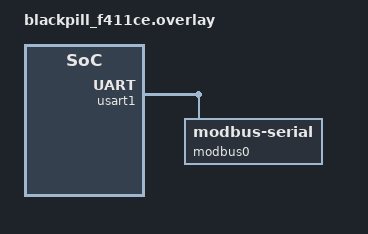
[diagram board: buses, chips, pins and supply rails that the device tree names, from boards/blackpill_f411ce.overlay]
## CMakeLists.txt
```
cmake_minimum_required(VERSION 3.20.0)
find_package(Zephyr REQUIRED HINTS $ENV{ZEPHYR_BASE})
project(f411_modbus)

target_sources(app PRIVATE src/main.c)
```

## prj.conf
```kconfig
# SPDX-License-Identifier: Apache-2.0
#
# f411_modbus 的 Kconfig：只用「Zephyr 已有的东西」，不引第三方库。
#
# 与 f411_breath 的差别只有两处：
#   ① 打开 Modbus 子系统（server 角色）；
#   ② 关掉 LOG，只留 printk —— 因为 USART1 在 modbus_init_server 之后归协议栈，
#      任何异步日志都会把 Modbus 帧撞碎（见教程 11 §5）。

# 控制台 = USART1（PA9/PA10 → DAP-Link CDC）。开机自检要用它，
# 协议起来之后就不再打印（单口方案，和 classic 的 STM32F411_modbus 一致）。
CONFIG_CONSOLE=y
CONFIG_SERIAL=y
CONFIG_UART_CONSOLE=y

# Modbus 走 UART 中断：RTU 的 3.5 字符静默定界靠 IRQ + 超时，不走轮询
CONFIG_UART_INTERRUPT_DRIVEN=y
CONFIG_UART_LINE_CTRL=n
CONFIG_MODBUS=y
CONFIG_MODBUS_ROLE_SERVER=y

# ★ 关日志：LOG 在中断里也能输出，会和 Modbus 帧抢同一个 UART
CONFIG_LOG=n
CONFIG_PRINTK=y

CONFIG_GPIO=y
CONFIG_MAIN_STACK_SIZE=2048

# 调试会话：不开这一项时，主循环 WFI 期间 AHB-AP 读不到内核寄存器，
# openocd 会刷 "Polling failed / Failed to read memory at 0xe000ed04"，
# gdb 报 pc=0（看起来像崩了，其实固件在正常跑）。详见教程 10 §5.1。
CONFIG_DEBUG=y
```

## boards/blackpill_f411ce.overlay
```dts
/*
 * f411_modbus 的板级 overlay：把 USART1 变成 Modbus RTU 的物理层。
 *
 * 为什么挂在 &usart1 下面而不是写 chosen：
 *   Zephyr 的 Modbus 串口实例是「uart 节点的子节点」（compatible = zephyr,modbus-serial），
 *   驱动用 DT_INST_PARENT(inst) 反查 uart 设备。写成 chosen 找不到。
 *
 * 不加 de-gpios / re-gpios：
 *   那两个是 RS485 收发器的方向脚（DE/RE）。DAP-Link 的 CDC 串口是 TTL 直连，
 *   没有方向控制；写了反而会去操作一个不存在的引脚。
 *
 * 引脚不在这里写：PA9/PA10 由板级 dts 的 usart1 pinctrl 决定。
 */

&usart1 {
	status = "okay";

	modbus0: modbus0 {
		compatible = "zephyr,modbus-serial";
		status = "okay";
	};
};
```

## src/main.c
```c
/*
 * SPDX-License-Identifier: Apache-2.0
 *
 * f411_modbus —— STM32F411CEU6（WeAct Black Pill V2.0）上的 Modbus RTU 从站
 *
 * 它替代的是 classic 的 examples/STM32F411_modbus，但**只替代功能，不替代引擎**：
 *   classic：自己写 CRC16、自己写循环 DMA 收 + 软件乒乓发、自己写静默定界；
 *   这里    ：把 USART1 交给 Zephyr 的 Modbus 子系统（subsys/modbus），
 *             内核只负责「寄存器表里每个地址是什么意思」。
 *
 * 换句话说：这一版里没有一行 CRC、没有一个状态机。想改协议行为去改 dts 与 Kconfig，
 * 想改业务语义才改这个文件 —— 这是迁移到 Zephyr 最直接的好处。
 *
 * 寄存器表与 classic 点表（projects/STM32F411_modbus.modbus.json）严格对齐：
 *   0x0000 device_id = 0x0411 (STM32F411)     0x0001 fw_version = 0x0100
 *   0x0002 tick（每秒 +1）                     0x0003 toggles（每秒 +2）
 *   0x0004 stage = 1                           0x0010 LED 命令（写 0/1）
 *   0x0011 burst（接受写入，Zephyr 侧不产生连发）
 *   0x0020/21 runtime u32（高字在前）          0x0030/31 temp f32（高字在前）
 *   0x0040/41 uptime u32                       0x0110..0x0117 scratch（可读写）
 *   线圈 0..3（线圈 0 与 LED 联动）            离散输入 0 = LED 状态 / 1 = 最近 2s 有事务
 *
 * 0x0100..0x0109 在 classic 里是「循环 DMA 的仪表盘」（HT/TC/IDLE/TX 乒乓）。
 * Zephyr 用的是子系统自己的收发路径，没有这些计数，所以这段**恒返回 0**。
 * 不编造数字，是这个工程的一条硬规矩。
 */

#include <errno.h>

#include <zephyr/kernel.h>
#include <zephyr/drivers/gpio.h>
#include <zephyr/modbus/modbus.h>
#include <zephyr/sys/printk.h>
#include <zephyr/version.h>

/* ── 从站参数 ──────────────────────────────────────────────────── */
#define UNIT_ID   1u
#define HOLD_N    0x0120u          /* 保持寄存器地址空间 0x0000–0x011F（与 classic 同） */
#define COIL_N    4u

#define REG_LED       0x0010u
#define REG_BURST     0x0011u
#define REG_SCRATCH0  0x0110u
#define SCRATCH_N     8u

/* classic 的 DMA 仪表盘段：Zephyr 无对应物，恒 0 */
#define REG_DMA_FIRST 0x0100u
#define REG_DMA_LAST  0x0109u

static const struct gpio_dt_spec led = GPIO_DT_SPEC_GET(DT_ALIAS(led0), gpios);

static uint16_t holding[HOLD_N];
static uint16_t scratch[SCRATCH_N];
static uint8_t  coil_bits;

/* 写过 0x0010 或线圈 0 之后，LED 交给主站；否则自己按 500 ms 翻转当年心跳灯 */
static bool     led_manual;
static int64_t  last_rx_ms;

/* 模拟温度：不引 libm，只验证 f32 的字序与缩放 */
static const float temp_tab[8] = {
	25.0f, 25.5f, 26.0f, 26.5f, 27.0f, 26.5f, 26.0f, 25.5f
};

static uint32_t uptime_s(void)
{
	return (uint32_t)(k_uptime_get() / 1000);
}

/* 任何一次被服务端调用的回调 = 总线上刚有一帧。离散输入 1 用它判「主站还在不在」 */
static void mark_rx(void)
{
	last_rx_ms = k_uptime_get();
}

static uint32_t temp_u32(void)
{
	union {
		float f;
		uint32_t u;
	} cv;

	cv.f = temp_tab[uptime_s() % 8u];
	return cv.u;
}

/* ── 服务端回调：只回答“这个地址是什么意思” ──────────────────── */

static int coil_rd(uint16_t addr, bool *state)
{
	if (addr >= COIL_N) {
		return -ENOTSUP;
	}
	mark_rx();
	*state = (coil_bits >> addr) & 1u;
	return 0;
}

static int coil_wr(uint16_t addr, bool state)
{
	if (addr >= COIL_N) {
		return -ENOTSUP;
	}
	mark_rx();

	if (state) {
		coil_bits |= (uint8_t)BIT(addr);
	} else {
		coil_bits &= (uint8_t)~BIT(addr);
	}

	/* 线圈 0 与 LED 联动：classic 也是这个约定，点表里写的是「线圈 0 与 LED 联动」 */
	if (addr == 0u) {
		led_manual = true;
		gpio_pin_set_dt(&led, state ? 1 : 0);
	}
	return 0;
}

static int discrete_rd(uint16_t addr, bool *state)
{
	mark_rx();

	switch (addr) {
	case 0u:
		*state = gpio_pin_get_dt(&led) > 0;
		return 0;
	case 1u:
		*state = (k_uptime_get() - last_rx_ms) < 2000;
		return 0;
	default:
		return -ENOTSUP;
	}
}

static int input_reg_rd(uint16_t addr, uint16_t *reg)
{
	ARG_UNUSED(addr);
	ARG_UNUSED(reg);
	return -ENOTSUP;            /* 这片点表没有输入寄存器，如实拒绝 */
}

static int holding_reg_rd(uint16_t addr, uint16_t *reg)
{
	uint32_t t;
	uint32_t temp;

	mark_rx();

	t = uptime_s();
	temp = temp_u32();

	switch (addr) {
	case 0x0000:                                    /* device_id */
		*reg = 0x0411u;                         /* 0x04 = STM32F4, 0x11 = F411 */
		return 0;
	case 0x0001:                                    /* fw_version 1.0 */
		*reg = 0x0100u;
		return 0;
	case 0x0002:                                    /* tick：每秒 +1 */
		*reg = (uint16_t)t;
		return 0;
	case 0x0003:                                    /* toggles：每秒 +2 */
		*reg = (uint16_t)(t * 2u);
		return 0;
	case 0x0004:                                    /* stage：1 = 从站在跑 */
		*reg = 1u;
		return 0;
	case 0x0005:
		/* frames：classic 数的是「合法帧」；Zephyr 子系统不向应用暴露帧计数。
		 * 与其给个会误导人的近似值，不如返回 0 —— 判活看 tick 或离散输入 1。 */
		*reg = 0u;
		return 0;
	case 0x0020:                                    /* runtime u32 高字（100 ms 计） */
		*reg = (uint16_t)((t * 10u) >> 16);
		return 0;
	case 0x0021:                                    /* runtime u32 低字 */
		*reg = (uint16_t)((t * 10u) & 0xFFFFu);
		return 0;
	case 0x0030:                                    /* temp f32 高字 */
		*reg = (uint16_t)(temp >> 16);
		return 0;
	case 0x0031:                                    /* temp f32 低字 */
		*reg = (uint16_t)(temp & 0xFFFFu);
		return 0;
	case 0x0040:                                    /* uptime u32 高字 */
		*reg = (uint16_t)(t >> 16);
		return 0;
	case 0x0041:                                    /* uptime u32 低字 */
		*reg = (uint16_t)(t & 0xFFFFu);
		return 0;
	default:
		break;
	}

	if (addr >= REG_DMA_FIRST && addr <= REG_DMA_LAST) {
		*reg = 0u;
		return 0;
	}
	if (addr >= REG_SCRATCH0 && addr < REG_SCRATCH0 + SCRATCH_N) {
		*reg = scratch[addr - REG_SCRATCH0];
		return 0;
	}
	if (addr < HOLD_N) {
		*reg = holding[addr];
		return 0;
	}
	return -ENOTSUP;
}

static int holding_reg_wr(uint16_t addr, uint16_t reg)
{
	mark_rx();

	/* 写点白名单：不在表里的一律拒绝（服务端回 02 非法地址）。
	 * 读错可以重读，写错会动硬件 —— 显式列表永远优于按地址段猜。 */
	if (addr == REG_LED) {
		led_manual = true;
		holding[addr] = reg;
		gpio_pin_set_dt(&led, reg ? 1 : 0);
		return 0;
	}
	if (addr == REG_BURST) {
		/* classic 用它触发「连发 N 帧」来观察 TX 乒乓。
		 * Zephyr 的发送路径归子系统，应用侧没有两块发送缓冲可切，
		 * 所以这里只记值、不产生连发（教程 11 §6 会解释这个差别）。 */
		holding[addr] = reg;
		return 0;
	}
	if (addr >= REG_SCRATCH0 && addr < REG_SCRATCH0 + SCRATCH_N) {
		scratch[addr - REG_SCRATCH0] = reg;
		return 0;
	}
	return -ENOTSUP;
}

static struct modbus_user_callbacks mbs_cb = {
	.coil_rd = coil_rd,
	.coil_wr = coil_wr,
	.discrete_input_rd = discrete_rd,
	.input_reg_rd = input_reg_rd,
	.holding_reg_rd = holding_reg_rd,
	.holding_reg_wr = holding_reg_wr,
};

/* ── 启动 ──────────────────────────────────────────────────────── */

int main(void)
{
	struct modbus_iface_param param = {
		.mode = MODBUS_MODE_RTU,
		.server = {
			.unit_id = UNIT_ID,
			.user_cb = &mbs_cb,
		},
		.serial = {
			.baud = 115200,
			.parity = UART_CFG_PARITY_NONE,
		},
	};
	int iface;

	/* ★ 单口方案：所有打印都在 modbus_init_server 之前完成。
	 *   协议一起来，USART1 就归 Modbus 了，此后任何 printk 都会插进帧里。
	 *   classic 的同一块板也是这个做法（首帧前打 [alive]，之后只跑协议）。
	 *
	 * ★ 为什么分三段打印、中间刻意等 1.4 s：
	 *   上位机/工具打开串口需要时间（本轮实测：烧录结束到串口可用约 0.6–1.2 s）。
	 *   如果 4 行横幅在 10 ms 内全打完，抓日志的人只能看到后半截，甚至啥也看不到。
	 *   留一段「启动静默期」既方便现场排障，也不影响 Modbus —— 主站上电后一般也要
	 *   秒级才开始轮询。代价是从站上线晚 1.4 s，嫌慢就改下面两个 k_msleep。 */
	printk("\n[boot] f411_modbus unit=%u 115200 8N1 (Zephyr %s)\n",
	       UNIT_ID, KERNEL_VERSION_STRING);
	printk("[boot] board=%s\n", CONFIG_BOARD_TARGET);

	if (!gpio_is_ready_dt(&led)) {
		printk("[boot] LED not ready, abort\n");
		return -1;
	}
	gpio_pin_configure_dt(&led, GPIO_OUTPUT_INACTIVE);

	k_msleep(700);
	printk("[boot] regs 0x0000 id | 0x0002 tick | 0x0010 led | 0x0110..117 scratch\n");
	k_msleep(700);
	printk("[boot] coils 0..3 (coil0=led) | di0=led di1=bus-active\n");

	/* 最后再留一点时间把上面两行排空：残留字节会被主站当成帧头 */
	k_msleep(150);

	iface = modbus_iface_get_by_name("modbus0");
	if (iface < 0) {
		printk("[boot] modbus0 not found (%d): overlay 没挂到 USART1？\n", iface);
		return -1;
	}
	if (modbus_init_server(iface, param) != 0) {
		printk("[boot] modbus_init_server failed\n");
		return -1;
	}

	/* 心跳：500 ms 翻一次灯 = 每秒 2 次，与 0x0003 toggles 的“每秒 +2”对得上。
	 * 主站写过 0x0010 / 线圈 0 之后，灯听主站的，这里不再抢。 */
	while (true) {
		if (!led_manual) {
			gpio_pin_toggle_dt(&led);
		}
		k_msleep(500);
	}

	return 0;
}
```
